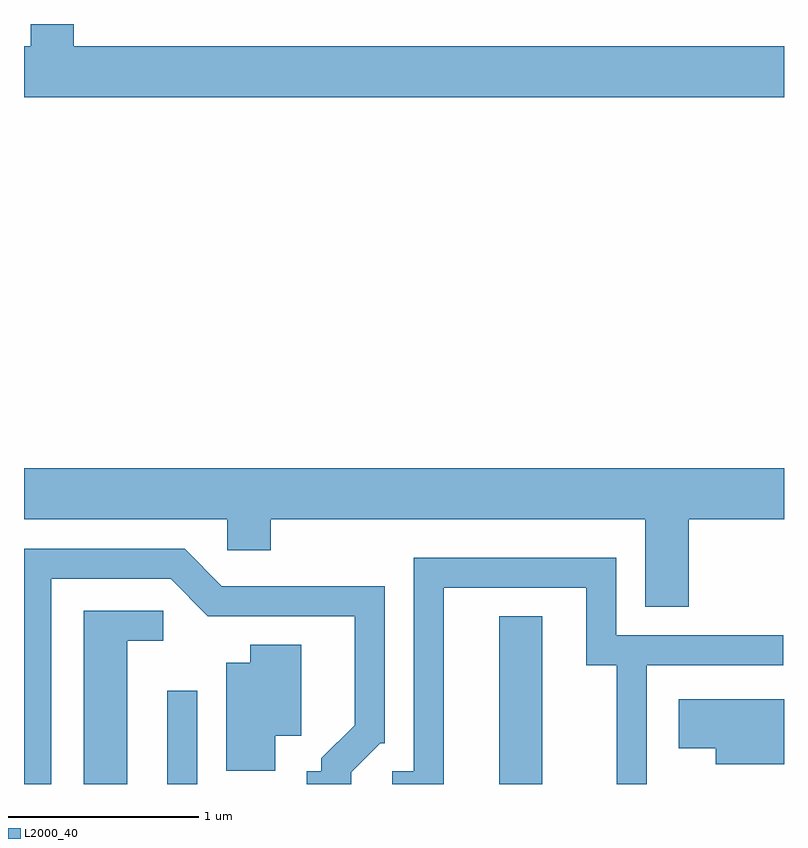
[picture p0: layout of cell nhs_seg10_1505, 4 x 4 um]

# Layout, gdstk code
import gdstk
lib = gdstk.Library(unit=1e-6, precision=1e-09)
def R(c, l, rs):  # rectangles x0, y0, x1, y1
    for r in rs: c.add(gdstk.rectangle(r[:2], r[2:], *l))
def P(c, l, *ps):  # polygons
    for p in ps: c.add(gdstk.Polygon(p, *l))
L2000_40 = (2000, 40)

nhs_seg10_1505 = lib.new_cell('nhs_seg10_1505')
R(nhs_seg10_1505, L2000_40, [(230.366,2112.522,230.524,2113.013), (232.111,2112.522,232.339,2113.404)])
P(nhs_seg10_1505, L2000_40, [(233.611,2116.404),(229.874,2116.404),(229.874,2116.522),(229.646,2116.522),(229.646,2116.404),(229.611,2116.404),(229.611,2116.136),(233.611,2116.136)],
  [(233.109,2113.916),(233.611,2113.916),(233.611,2114.184),(229.611,2114.184),(229.611,2113.916),(230.681,2113.916),(230.681,2113.751),(230.909,2113.751),(230.909,2113.916),(232.881,2113.916),(232.881,2113.456),(233.109,2113.456)],
  [(229.754,2113.601),(230.384,2113.601),(230.579,2113.406),(231.351,2113.406),(231.351,2112.832),(231.176,2112.657),(231.176,2112.589),(231.098,2112.589),(231.098,2112.522),(231.334,2112.522),(231.334,2112.584),(231.487,2112.736),(231.509,2112.736),(231.509,2113.564),(230.652,2113.564),(230.457,2113.759),(229.611,2113.759),(229.611,2112.522),(229.754,2112.522)],
  [(231.819,2113.556),(232.571,2113.556),(232.571,2113.146),(232.731,2113.146),(232.731,2112.522),(232.889,2112.522),(232.889,2113.146),(233.608,2113.146),(233.608,2113.304),(232.729,2113.304),(232.729,2113.714),(231.661,2113.714),(231.661,2112.589),(231.548,2112.589),(231.548,2112.522),(231.819,2112.522)],
  [(230.154,2113.276),(230.343,2113.276),(230.343,2113.434),(229.926,2113.434),(229.926,2112.522),(230.154,2112.522)],
  [(230.934,2112.776),(231.069,2112.776),(231.069,2113.254),(230.801,2113.254),(230.801,2113.159),(230.676,2113.159),(230.676,2112.591),(230.934,2112.591)],
  [(233.611,2112.969),(233.056,2112.969),(233.056,2112.711),(233.251,2112.711),(233.251,2112.626),(233.611,2112.626)])

lib.write_gds('nhs_seg10_1505.gds')
